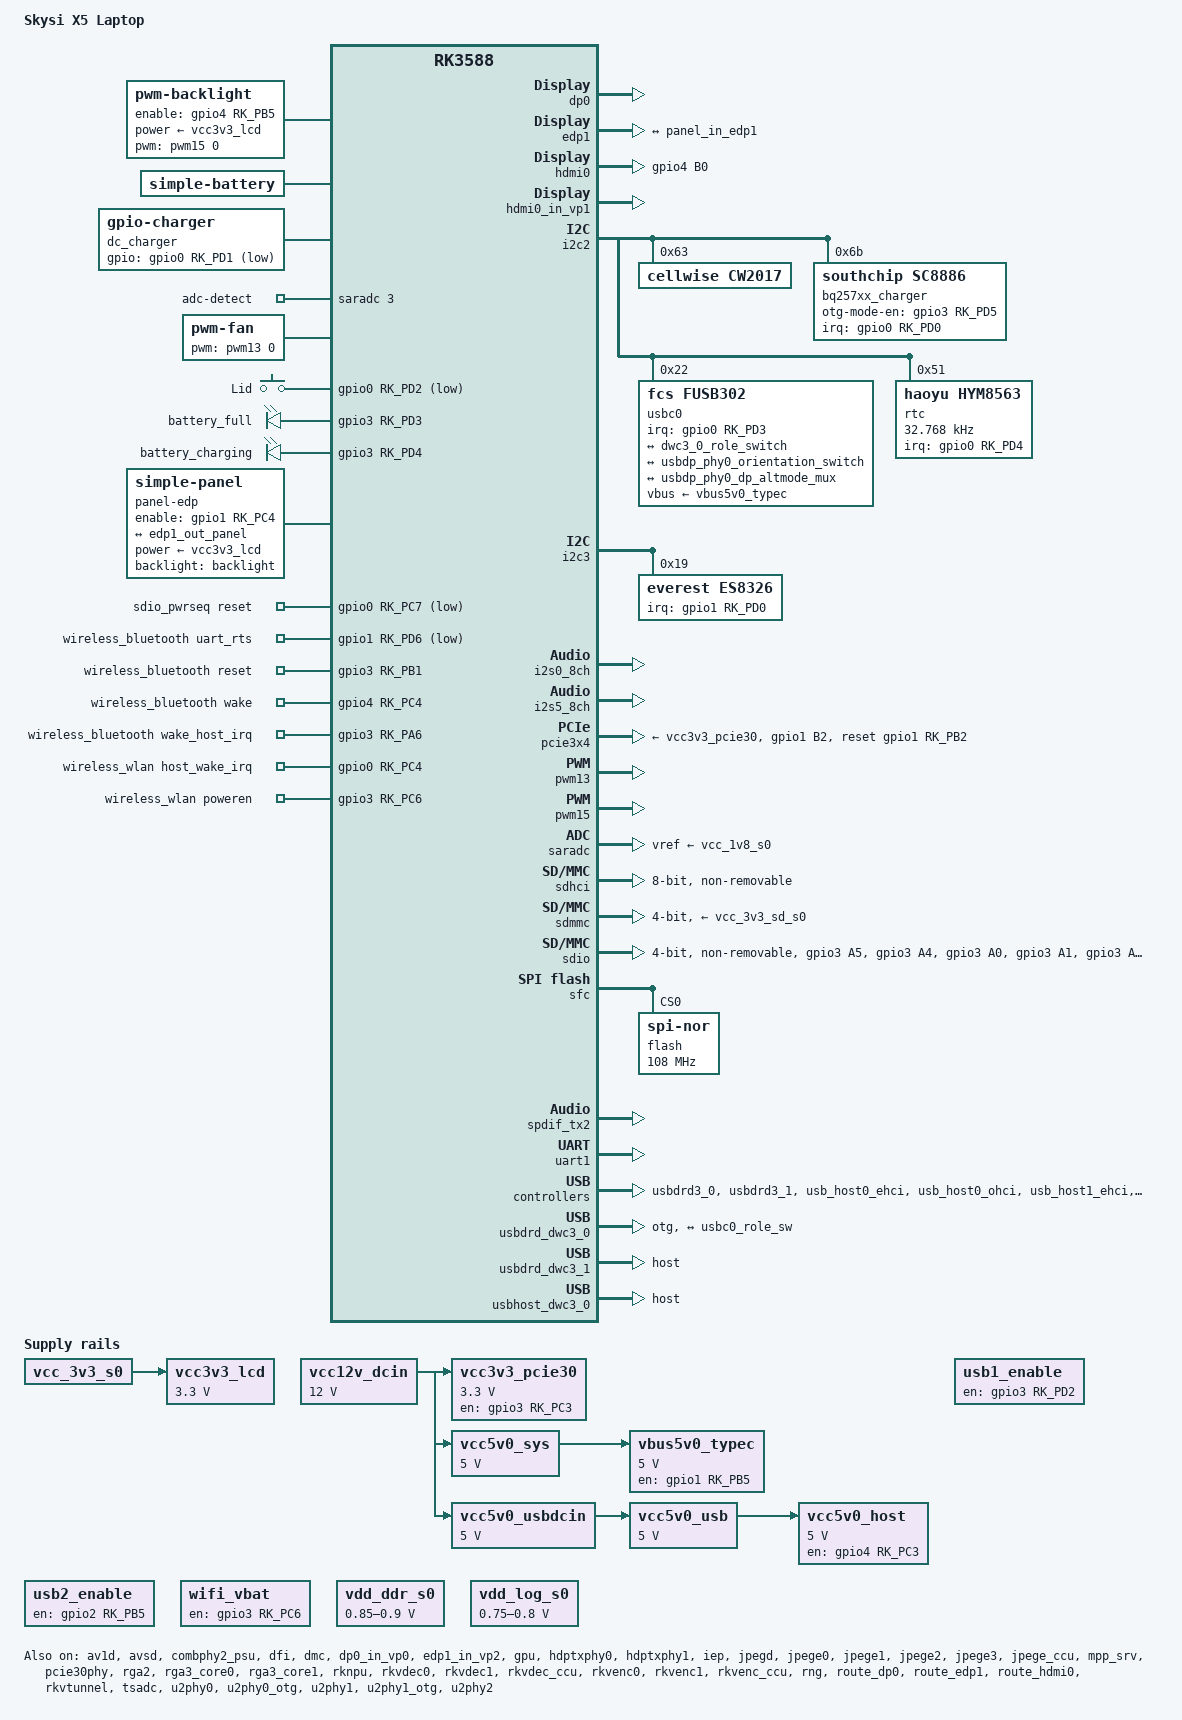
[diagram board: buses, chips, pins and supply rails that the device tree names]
// SPDX-License-Identifier: (GPL-2.0+ OR MIT)
/*
 * Copyright (c) 2026 Rockchip Electronics Co., Ltd.
 * Copyright (c) 2026 bingo1991
 */

/dts-v1/;

#include <dt-bindings/display/drm_mipi_dsi.h>
#include <dt-bindings/display/rockchip_vop.h>
#include <dt-bindings/gpio/gpio.h>
#include <dt-bindings/input/gpio-keys.h>
#include <dt-bindings/input/rk-input.h>
#include <dt-bindings/leds/common.h>
#include <dt-bindings/pwm/pwm.h>
#include <dt-bindings/pinctrl/rockchip.h>
#include <dt-bindings/sensor-dev.h>
#include <dt-bindings/usb/pd.h>
#include "rk3588.dtsi"
#include "rk3588-rk806-dual.dtsi"
#include "rk3588-linux.dtsi"

/ {
	model = "Skysi X5 Laptop";
	compatible = "rockchip,rk3588-yourland", "rockchip,rk3588-arm-pc", "rockchip,rk3588";

	/delete-node/ chosen;

	aliases {
		mmc0 = &sdhci;
		mmc1 = &sdmmc;
		mmc2 = &sdio;
		serial2 = &uart2;
	};

	backlight: backlight {
		compatible = "pwm-backlight";
		brightness-levels = <
			  0  20  20  21  21  22  22  23
			 23  24  24  25  25  26  26  27
			 27  28  28  29  29  30  30  31
			 31  32  32  33  33  34  34  35
			 35  36  36  37  37  38  38  39
			 40  41  42  43  44  45  46  47
			 48  49  50  51  52  53  54  55
			 56  57  58  59  60  61  62  63
			 64  65  66  67  68  69  70  71
			 72  73  74  75  76  77  78  79
			 80  81  82  83  84  85  86  87
			 88  89  90  91  92  93  94  95
			 96  97  98  99 100 101 102 103
			104 105 106 107 108 109 110 111
			112 113 114 115 116 117 118 119
			120 121 122 123 124 125 126 127
			128 129 130 131 132 133 134 135
			136 137 138 139 140 141 142 143
			144 145 146 147 148 149 150 151
			152 153 154 155 156 157 158 159
			160 161 162 163 164 165 166 167
			168 169 170 171 172 173 174 175
			176 177 178 179 180 181 182 183
			184 185 186 187 188 189 190 191
			192 193 194 195 196 197 198 199
			200 201 202 203 204 205 206 207
			208 209 210 211 212 213 214 215
			216 217 218 219 220 221 222 223
			224 225 226 227 228 229 230 231
			232 233 234 235 236 237 238 239
			240 241 242 243 244 245 246 247
			248 249 250 251 252 253 254 255
		>;
		default-brightness-level = <200>;
		enable-gpios = <&gpio4 RK_PB5 GPIO_ACTIVE_HIGH>;
		pinctrl-names = "default";
		pinctrl-0 = <&lcd_backlight_en>;
		power-supply = <&vcc3v3_lcd>;
		pwms = <&pwm15 0 25000 0>;
	};

	battery: battery {
		compatible = "simple-battery";
		charge-full-design-microamp-hours = <6000000>;
		constant-charge-current-max-microamp = <5000000>;
		constant-charge-voltage-max-microvolt = <8700000>;
		voltage-max-design-microvolt = <8700000>;
		voltage-min-design-microvolt = <7600000>;
	};

	dc_charger: dc-charger {
		compatible = "gpio-charger";
		charger-type = "mains";
		gpios = <&gpio0 RK_PD1 GPIO_ACTIVE_LOW>;
		pinctrl-names = "default";
		pinctrl-0 = <&dc_det>;
	};

	dp0_sound: dp0-sound {
		compatible = "rockchip,hdmi";
		rockchip,card-name = "rockchip-dp0";
		rockchip,mclk-fs = <512>;
		rockchip,cpu = <&spdif_tx2>;
		rockchip,codec = <&dp0 1>;
		rockchip,jack-det;
	};

	es8326_sound: es8326-sound {
		compatible = "rockchip,multicodecs-card";
		rockchip,card-name = "rockchip-es8326";
		rockchip,format = "i2s";
		rockchip,mclk-fs = <256>;
		rockchip,cpu = <&i2s0_8ch>;
		rockchip,codec = <&es8326>;
		rockchip,audio-routing =
			"Headphone", "HPOL",
			"Headphone", "HPOR",
			"Headphone", "Headphone Power",
			"Headphone", "Headphone Power",
			"Speaker", "HPOL",
			"Speaker", "HPOR",
			"Speaker", "Speaker Power",
			"Speaker", "Speaker Power",
			"MIC1", "Headset Mic",
			"MIC2", "Main Mic";

		pinctrl-names = "default";
		pinctrl-0 = <&spk_con>;

		poll-interval = <100>;
		io-channels = <&saradc 3>;
		io-channel-names = "adc-detect";
		keyup-threshold-microvolt = <1800000>;
		play-pause-key {
			label = "playpause";
			linux,code = <KEY_PLAYPAUSE>;
			press-threshold-microvolt = <2000>;
		};
	};

	fan: pwm-fan {
		compatible = "pwm-fan";
		cooling-levels = <0 128 192 255>;
		cooling-min-state = <0>;
		cooling-max-state = <3>;
		pwms = <&pwm13 0 3000000 1>;
		#cooling-cells = <2>;
	};

	gpio_keys: gpio-keys {
		compatible = "gpio-keys";
		pinctrl-names = "default";
		pinctrl-0 = <&sw_lid>;

		switch-lid {
			debounce-interval = <20>;
			gpios = <&gpio0 RK_PD2 GPIO_ACTIVE_LOW>;
			label = "Lid";
			linux,code = <SW_LID>;
			linux,input-type = <EV_SW>;
			wakeup-event-action = <EV_ACT_DEASSERTED>;
			wakeup-source;
		};
	};

	gpio_leds: gpio-leds {
		compatible = "gpio-leds";
		pinctrl-names = "default";
		pinctrl-0 = <&leds_gpio>;

		charge_indicator: led1 {
			default-state = "off";
			gpios = <&gpio3 RK_PD3 GPIO_ACTIVE_HIGH>;
			label = "battery_full";
			linux,default-trigger = "cw2017-battery-full";
			retain-state-suspended;
		};

		power_indicator: led2 {
			default-state = "off";
			gpios = <&gpio3 RK_PD4 GPIO_ACTIVE_HIGH>;
			label = "battery_charging";
			linux,default-trigger = "cw2017-battery-charging-or-full";
			retain-state-suspended;
		};
	};

	hdmi0_sound: hdmi0-sound {
		compatible = "simple-audio-card";
		simple-audio-card,format = "i2s";
		simple-audio-card,mclk-fs = <128>;
		simple-audio-card,name = "rockchip-hdmi0";

		simple-audio-card,cpu {
			sound-dai = <&i2s5_8ch>;
		};
		simple-audio-card,codec {
			sound-dai = <&hdmi0>;
		};
	};

	panel-edp {
		compatible = "simple-panel";
		backlight = <&backlight>;
		enable-gpios = <&gpio1 RK_PC4 GPIO_ACTIVE_HIGH>;
		power-supply = <&vcc3v3_lcd>;

		prepare-delay-ms = <210>;
		enable-delay-ms = <50>;
		unprepare-delay-ms = <160>;
		disable-delay-ms = <120>;
		width-mm = <309>;
		height-mm = <174>;
		bpc = <8>;
		connector-type = <14>; /* DRM_MODE_CONNECTOR_eDP */

		/* AUO B140HAN04.0 timing from EDID. */
		panel-timing {
			clock-frequency = <141000000>;
			hactive = <1920>;
			vactive = <1080>;
			hfront-porch = <16>;
			hsync-len = <16>;
			hback-porch = <152>;
			vfront-porch = <3>;
			vsync-len = <14>;
			vback-porch = <19>;
			hsync-active = <0>;
			vsync-active = <0>;
			de-active = <0>;
			pixelclk-active = <0>;
		};

		port {
			panel_in_edp1: endpoint {
				remote-endpoint = <&edp1_out_panel>;
			};
		};
	};

	vbus5v0_typec: regulator-vbus5v0-typec {
		compatible = "regulator-fixed";
		enable-active-high;
		gpio = <&gpio1 RK_PB5 GPIO_ACTIVE_HIGH>;
		pinctrl-names = "default";
		pinctrl-0 = <&vbus5v0_typec_en>;
		regulator-max-microvolt = <5000000>;
		regulator-min-microvolt = <5000000>;
		regulator-name = "vbus5v0_typec";
		vin-supply = <&vcc5v0_sys>;
	};

	vcc12v_dcin: regulator-vcc12v-dcin {
		compatible = "regulator-fixed";
		regulator-always-on;
		regulator-boot-on;
		regulator-min-microvolt = <12000000>;
		regulator-max-microvolt = <12000000>;
		regulator-name = "vcc12v_dcin";
	};

	vcc3v3_lcd: regulator-vcc3v3-lcd {
		compatible = "regulator-fixed";
		regulator-boot-on;
		regulator-max-microvolt = <3300000>;
		regulator-min-microvolt = <3300000>;
		regulator-name = "vcc3v3_lcd";
		vin-supply = <&vcc_3v3_s0>;

		regulator-state-mem {
			// Screen power off in suspend state
			regulator-off-in-suspend;
		};
	};

	vcc3v3_pcie30: regulator-vcc3v3-pcie30 {
		compatible = "regulator-fixed";
		enable-active-high;
		gpios = <&gpio3 RK_PC3 GPIO_ACTIVE_HIGH>;
		pinctrl-names = "default";
		pinctrl-0 = <&vcc3v3_pcie30_en>;
		regulator-max-microvolt = <3300000>;
		regulator-min-microvolt = <3300000>;
		regulator-name = "vcc3v3_pcie30";
		startup-delay-us = <5000>;
		vin-supply = <&vcc12v_dcin>;
	};

	vcc5v0_host: regulator-vcc5v0-host {
		compatible = "regulator-fixed";
		enable-active-high;
		gpio = <&gpio4 RK_PC3 GPIO_ACTIVE_HIGH>;
		pinctrl-names = "default";
		pinctrl-0 = <&vcc5v0_host_en>;
		regulator-always-on;
		regulator-boot-on;
		regulator-max-microvolt = <5000000>;
		regulator-min-microvolt = <5000000>;
		regulator-name = "vcc5v0_host";
		vin-supply = <&vcc5v0_usb>;
	};

	vcc5v0_sys: regulator-vcc5v0-sys {
		compatible = "regulator-fixed";
		regulator-always-on;
		regulator-boot-on;
		regulator-max-microvolt = <5000000>;
		regulator-min-microvolt = <5000000>;
		regulator-name = "vcc5v0_sys";
		vin-supply = <&vcc12v_dcin>;
	};

	vcc5v0_usb: regulator-vcc5v0-usb {
		compatible = "regulator-fixed";
		regulator-always-on;
		regulator-boot-on;
		regulator-max-microvolt = <5000000>;
		regulator-min-microvolt = <5000000>;
		regulator-name = "vcc5v0_usb";
		vin-supply = <&vcc5v0_usbdcin>;
	};

	vcc5v0_usbdcin: regulator-vcc5v0-usbdcin {
		compatible = "regulator-fixed";
		regulator-always-on;
		regulator-boot-on;
		regulator-max-microvolt = <5000000>;
		regulator-min-microvolt = <5000000>;
		regulator-name = "vcc5v0_usbdcin";
		vin-supply = <&vcc12v_dcin>;
	};

	usb1_enable: regulator-usb1-enable {
		compatible = "regulator-fixed";
		regulator-name = "usb1_enable";
		gpio = <&gpio3 RK_PD2 GPIO_ACTIVE_HIGH>;
		enable-active-high;
		regulator-always-on;
		regulator-boot-on;
	};

	usb2_enable: regulator-usb2-enable {
		compatible = "regulator-fixed";
		regulator-name = "usb2_enable";
		gpio = <&gpio2 RK_PB5 GPIO_ACTIVE_HIGH>;
		enable-active-high;
		regulator-always-on;
		regulator-boot-on;
	};

	wifi_vbat: regulator-wifi-vbat {
		compatible = "regulator-fixed";
		enable-active-high;
		gpios = <&gpio3 RK_PC6 GPIO_ACTIVE_HIGH>;
		pinctrl-names = "default";
		pinctrl-0 = <&wifi_poweren_gpio>;
		regulator-always-on;
		regulator-boot-on;
		regulator-name = "wifi_vbat";
	};

	sdio_pwrseq: sdio-pwrseq {
		compatible = "mmc-pwrseq-simple";
		clocks = <&rtc>;
		clock-names = "ext_clock";
		pinctrl-names = "default";
		pinctrl-0 = <&wifi_enable_h>;
		/*
		 * On the module itself this is one of these (depending
		 * on the actual card populated):
		 * - SDIO_RESET_L_WL_REG_ON
		 * - PDN (power down when low)
		 */
		post-power-on-delay-ms = <200>;
		reset-gpios = <&gpio0 RK_PC7 GPIO_ACTIVE_LOW>;
	};

	// 3-WIRE(H5) HCIUART protocol bluetooth, using UART1 controller
	wireless_bluetooth: wireless-bluetooth {
		compatible = "bluetooth-platdata";
		bt_port = "/dev/ttyS1";
		clocks = <&rtc>;
		clock-names = "ext_clock";
		//wifi-bt-power-toggle;
		uart_rts_gpios = <&gpio1 RK_PD6 GPIO_ACTIVE_LOW>;
		pinctrl-names = "default", "rts_gpio";
		pinctrl-0 = <&uart1m1_rtsn>, <&bt_reset_gpio>, <&bt_wake_gpio>, <&bt_irq_gpio>;
		pinctrl-1 = <&uart1_gpios>;
		BT,reset_gpio    = <&gpio3 RK_PB1 GPIO_ACTIVE_HIGH>;
		BT,wake_gpio     = <&gpio4 RK_PC4 GPIO_ACTIVE_HIGH>;
		BT,wake_host_irq = <&gpio3 RK_PA6 GPIO_ACTIVE_HIGH>;
		status = "okay";
	};

	wireless_wlan: wireless-wlan {
		compatible = "wlan-platdata";
		wifi_chip_type = "ap6275s";
		pinctrl-names = "default";
		pinctrl-0 = <&wifi_host_wake_irq>;
		WIFI,host_wake_irq = <&gpio0 RK_PC4 GPIO_ACTIVE_HIGH>;
		WIFI,poweren_gpio = <&gpio3 RK_PC6 GPIO_ACTIVE_HIGH>;
		status = "okay";
	};
};

&av1d {
	status = "okay";
};

&av1d_mmu {
	status = "okay";
};

&avsd {
	status = "okay";
};

&combphy2_psu {
	status = "okay";
};

&cpu_b0 {
	cpu-supply = <&vdd_cpu_big0_s0>;
	mem-supply = <&vdd_cpu_big0_mem_s0>;
};

&cpu_b2 {
	cpu-supply = <&vdd_cpu_big1_s0>;
	mem-supply = <&vdd_cpu_big1_mem_s0>;
};

&cpu_l0 {
	cpu-supply = <&vdd_cpu_lit_s0>;
	mem-supply = <&vdd_cpu_lit_mem_s0>;
};

&dfi {
	status = "okay";
};

&dmc {
	status = "okay";
	center-supply = <&vdd_ddr_s0>;
	mem-supply = <&vdd_log_s0>;
	rockchip,dmc-min-freq = <1560000000>;
	rockchip,dmc-max-freq = <2112000000>;
};

&dp0 {
	status = "okay";
};

&dp0_in_vp0 {
	status = "okay";
};

&dp0_sound {
	status = "okay";
};

&edp1 {
	// Force eDP out, hotplug not supported, hpd-gpios is not necessary
	force-hpd;
	status = "okay";

	ports {
		port@1 {
			reg = <1>;
			edp1_out_panel: endpoint {
				remote-endpoint = <&panel_in_edp1>;
			};
		};
	};
};

&edp1_in_vp2 {
	status = "okay";
};

/* Use Rockchip's vendor Mali driver with the vendor userspace. */
&gpu {
	mali-supply = <&vdd_gpu_s0>;
	mem-supply = <&vdd_gpu_mem_s0>;
	status = "okay";
};

&gpu_panthor {
	status = "disabled";
};

&hdmi0 {
	enable-gpios = <&gpio4 RK_PB0 GPIO_ACTIVE_HIGH>;
	pinctrl-names = "default";
	/* HPD and DDC share the enable pin group. */
	pinctrl-0 = <&hdmi_en &hdmim0_tx0_hpd &hdmim0_tx0_scl &hdmim0_tx0_sda>;
	status = "okay";
};

&hdmi0_in_vp1 {
	status = "okay";
};

&hdmi0_sound {
	status = "okay";
};

/* HDMI0/eDP0 Combo PHY, used as hdmi0 */
&hdptxphy0 {
	status = "okay";
};

/* HDMI1/eDP1 Combo PHY, used as edp1 */
&hdptxphy1 {
	status = "okay";
};

&i2c2 {
	i2c-scl-rising-time-ns = <600>;
	i2c-scl-falling-time-ns = <20>;
	status = "okay";

	cw2017@63 {
		compatible = "cellwise,cw2017";
		reg = <0x63>;

		cellwise,battery-profile = <
			0x32000000 0x00000000 0xa2bfc9f0 0xacb19755 0x42ffffff
			0xe0b39080 0x604a2480 0xacd995d3 0xd1cfcfcc 0xc9abee99
			0xbab7bb9f 0x8c817468 0x5b5d6f8a 0xa08f573d 0x00009002
			0x00000000 0x00006400 0x00000000 0x00000000 0x00000079
		>;

		cellwise,alert-level = <10>;
		cellwise,design-capacity-amh = <6000>;
		cellwise,dual-cell;
		cellwise,monitor-interval-ms = <3000>;
		monitored-battery = <&battery>;
		power-supplies = <&dc_charger &bq257xx_charger>;
		status = "okay";
	};

	bq257xx_charger: sc8886@6b {
		compatible = "southchip,sc8886", "ti,bq25703";
		reg = <0x6b>;

		interrupt-parent = <&gpio0>;
		interrupts = <RK_PD0 IRQ_TYPE_LEVEL_LOW>;
		otg-mode-en-gpio = <&gpio3 RK_PD5 GPIO_ACTIVE_HIGH>;
		pinctrl-names = "default";
		pinctrl-0 = <&charger_int_h &otg_enable_h>;
		extcon = <&u2phy0>;

		ti,usb-charger-detection = <&usbc0>;
		ti,charge-current = <2500000>;
		ti,max-input-voltage = <12000000>;
		ti,max-input-current = <6000000>;
		ti,max-charge-voltage = <8700000>;
		ti,input-current = <2000000>;
		ti,input-current-sdp = <1000000>;
		ti,input-current-dcp = <2000000>;
		ti,input-current-cdp = <2000000>;
		ti,minimum-sys-voltage = <7200000>;
		ti,otg-voltage = <5000000>;
		ti,otg-current = <2000000>;
		pd-charge-only = <0>;
		status = "okay";
	};

	usbc0: fusb302@22 {
		compatible = "fcs,fusb302";
		reg = <0x22>;
		interrupt-parent = <&gpio0>;
		interrupts = <RK_PD3 IRQ_TYPE_LEVEL_LOW>;
		pinctrl-names = "default";
		pinctrl-0 = <&usbc0_int>;
		vbus-supply = <&vbus5v0_typec>;
		status = "okay";

		ports {
			#address-cells = <1>;
			#size-cells = <0>;

			port@0 {
				reg = <0>;
				usbc0_role_sw: endpoint@0 {
					remote-endpoint = <&dwc3_0_role_switch>;
				};
			};
		};

		usb_con: connector {
			compatible = "usb-c-connector";
			data-role = "dual";
			label = "USB-C";
			op-sink-microwatt = <1000000>;
			power-role = "dual";
			sink-pdos =
				<PDO_FIXED(5000, 1000, PDO_FIXED_USB_COMM)
				 PDO_FIXED(15000, 3000, PDO_FIXED_USB_COMM)>;
			source-pdos = <PDO_FIXED(5000, 3000, PDO_FIXED_USB_COMM)>;
			try-power-role = "sink";

			altmodes {
				#address-cells = <1>;
				#size-cells = <0>;

				altmode@0 {
					reg = <0>;
					svid = <0xff01>;
					vdo = <0xffffffff>;
				};
			};

			ports {
				#address-cells = <1>;
				#size-cells = <0>;

				port@0 {
					reg = <0>;
					usbc0_orien_sw: endpoint {
						remote-endpoint = <&usbdp_phy0_orientation_switch>;
					};
				};

				port@1 {
					reg = <1>;
					dp_altmode_mux: endpoint {
						remote-endpoint = <&usbdp_phy0_dp_altmode_mux>;
					};
				};
			};
		};
	};

	rtc: hym8563@51 {
		compatible = "haoyu,hym8563";
		reg = <0x51>;
		#clock-cells = <0>;
		clock-frequency = <32768>;
		clock-output-names = "hym8563";
		pinctrl-names = "default";
		pinctrl-0 = <&rtc_int>;
		interrupt-parent = <&gpio0>;
		interrupts = <RK_PD4 IRQ_TYPE_LEVEL_LOW>;
	};
};

&i2c3 {
	status = "okay";

	es8326: es8326@19 {
		status = "okay";
		#sound-dai-cells = <0>;
		compatible = "everest,es8326";
		reg = <0x19>;
		clocks = <&mclkout_i2s0>;
		clock-names = "mclk";
		assigned-clocks = <&mclkout_i2s0>;
		assigned-clock-rates = <12288000>;
		pinctrl-names = "default";
		pinctrl-0 = <&i2s0_mclk &hp_det>;
		interrupt-parent = <&gpio1>;
		interrupts = <RK_PD0 IRQ_TYPE_EDGE_RISING>;
		/*
		 * ADC1 uses analogue MIC1 for the headset microphone.
		 * ADC2 uses the on-board digital microphone.
		 */
		everest,mic1-src = [22];
		everest,mic2-src = [44];
		everest,jack-pol = [07];
	};
};

/* I2S0 - ES8326 Audio Codec */
&i2s0_8ch {
	pinctrl-names = "default";
	pinctrl-0 = <&i2s0_lrck &i2s0_sclk &i2s0_sdi0 &i2s0_sdi1 &i2s0_sdi2 &i2s0_sdo0>;
	status = "okay";
};

/* HDMI0 audio */
&i2s5_8ch {
	status = "okay";
};

&iep {
	status = "okay";
};

&iep_mmu {
	status = "okay";
};

&jpegd {
	status = "okay";
};

&jpegd_mmu {
	status = "okay";
};

&jpege0 {
	status = "okay";
};

&jpege0_mmu {
	status = "okay";
};

&jpege1 {
	status = "okay";
};

&jpege1_mmu {
	status = "okay";
};

&jpege2 {
	status = "okay";
};

&jpege2_mmu {
	status = "okay";
};

&jpege3 {
	status = "okay";
};

&jpege3_mmu {
	status = "okay";
};

&jpege_ccu {
	status = "okay";
};

&mpp_srv {
	status = "okay";
};

&pcie30phy {
	rockchip,pcie30-phymode = <PHY_MODE_PCIE_AGGREGATION>;
	status = "okay";
};

/* PCIe 3.0 x4 NVme SSD */
&pcie3x4 {
	pinctrl-names = "default";
	pinctrl-0 = <&pcie3x4_rst>;
	reset-gpios = <&gpio1 RK_PB2 GPIO_ACTIVE_HIGH>;
	vpcie3v3-supply = <&vcc3v3_pcie30>;
	status = "okay";
};

&pinctrl {
	audio {
		hp_det: hp-det {
			rockchip,pins = <1 RK_PD0 RK_FUNC_GPIO &pcfg_pull_down>;
		};

		spk_con: spk-con {
			/* parked low; the es8326 driver drives it with the jack state */
			rockchip,pins = <2 RK_PB7 RK_FUNC_GPIO &pcfg_output_low>;
		};
	};

	bluetooth {
		uart1_gpios: uart1-gpios {
			rockchip,pins = <1 RK_PD6 RK_FUNC_GPIO &pcfg_pull_none>;
		};

		bt_reset_gpio: bt-reset-gpio {
			rockchip,pins = <3 RK_PB1 RK_FUNC_GPIO &pcfg_pull_none>;
		};

		bt_wake_gpio: bt-wake-gpio {
			rockchip,pins = <4 RK_PC4 RK_FUNC_GPIO &pcfg_pull_none>;
		};

		bt_irq_gpio: bt-irq-gpio {
			rockchip,pins = <3 RK_PA6 RK_FUNC_GPIO &pcfg_pull_down>;
		};
	};

	charger {
		charger_int_h: charger-int-h {
			rockchip,pins = <0 RK_PD0 RK_FUNC_GPIO &pcfg_pull_up>;
		};

		dc_det: dc-det {
			rockchip,pins = <0 RK_PD1 RK_FUNC_GPIO &pcfg_pull_up>;
		};

		otg_enable_h: otg-enable-h {
			rockchip,pins = <3 RK_PD5 RK_FUNC_GPIO &pcfg_pull_none>;
		};
	};

	display {
		hdmi_en: hdmi-en {
			rockchip,pins = <4 RK_PB0 RK_FUNC_GPIO &pcfg_output_high>;
		};

		lcd_backlight_en: lcd-backlight-en {
			rockchip,pins = <4 RK_PB5 RK_FUNC_GPIO &pcfg_pull_none>;
		};
	};

	gpio-keys {
		sw_lid: sw-lid {
			rockchip,pins = <0 RK_PD2 RK_FUNC_GPIO &pcfg_pull_up>;
		};
	};

	gpio-leds {
		leds_gpio: leds-gpio {
			/* PC1 enables the LED supply; PD3 and PD4 drive the LEDs. */
			rockchip,pins = <3 RK_PC1 RK_FUNC_GPIO &pcfg_output_high>,
					<3 RK_PD3 RK_FUNC_GPIO &pcfg_pull_none>,
					<3 RK_PD4 RK_FUNC_GPIO &pcfg_pull_none>;
		};
	};

	rtc {
		rtc_int: rtc-int {
			rockchip,pins = <0 RK_PD4 RK_FUNC_GPIO &pcfg_pull_up>;
		};
	};

	pcie3 {
		pcie3x4_rst: pcie3x4-rst {
			rockchip,pins = <1 RK_PB2 RK_FUNC_GPIO &pcfg_pull_none>;
		};

		vcc3v3_pcie30_en: vcc3v3-pcie30-en {
			rockchip,pins = <3 RK_PC3 RK_FUNC_GPIO &pcfg_pull_none>;
		};
	};

	sdio-pwrseq {
		wifi_enable_h: wifi-enable-h {
			rockchip,pins = <0 RK_PC7 RK_FUNC_GPIO &pcfg_pull_none>;
		};
	};

	sdio-wifi {
		sdio_pins: sdio-pins {
			rockchip,pins = <3 RK_PA5 2 &pcfg_pull_up_drv_level_2>,
					<3 RK_PA4 2 &pcfg_pull_up_drv_level_2>,
					<3 RK_PA0 2 &pcfg_pull_up_drv_level_2>,
					<3 RK_PA1 2 &pcfg_pull_up_drv_level_2>,
					<3 RK_PA2 2 &pcfg_pull_up_drv_level_2>,
					<3 RK_PA3 2 &pcfg_pull_up_drv_level_2>;
		};
	};

	usb {
		vcc5v0_host_en: vcc5v0-host-en {
			rockchip,pins = <4 RK_PC3 RK_FUNC_GPIO &pcfg_pull_none>,
					<2 RK_PB6 RK_FUNC_GPIO &pcfg_output_high>,
					<3 RK_PC0 RK_FUNC_GPIO &pcfg_output_high>;
		};
	};

	usb-typec {
		usbc0_int: usbc0-int {
			rockchip,pins = <0 RK_PD3 RK_FUNC_GPIO &pcfg_pull_up>;
		};

		usbc0_sbu1: usbc0-sbu1 {
			rockchip,pins = <4 RK_PA6 RK_FUNC_GPIO &pcfg_pull_none>;
		};

		usbc0_sbu2: usbc0-sbu2 {
			rockchip,pins = <4 RK_PA7 RK_FUNC_GPIO &pcfg_pull_none>;
		};

		vbus5v0_typec_en: vbus5v0-typec-en {
			rockchip,pins = <1 RK_PB5 RK_FUNC_GPIO &pcfg_pull_none>;
		};
	};

	wireless-wlan {
		wifi_host_wake_irq: wifi-host-wake-irq {
			rockchip,pins = <0 RK_PC4 RK_FUNC_GPIO &pcfg_pull_down>;
		};

		wifi_poweren_gpio: wifi-poweren-gpio {
			rockchip,pins = <3 RK_PC6 RK_FUNC_GPIO &pcfg_pull_up>;
		};
	};
};

/* PWM Fan Control */
&pwm13 {
	pinctrl-names = "active";
	pinctrl-0 = <&pwm13m1_pins>;
	status = "okay";
};

/* Backlight */
&pwm15 {
	pinctrl-names = "active";
	pinctrl-0 = <&pwm15m1_pins>;
	status = "okay";
};

&rga2 {
	status = "okay";
};

&rga3_0_mmu {
	status = "okay";
};

&rga3_1_mmu {
	status = "okay";
};

&rga3_core0 {
	status = "okay";
};

&rga3_core1 {
	status = "okay";
};

&rknpu {
	rknpu-supply = <&vdd_npu_s0>;
	mem-supply = <&vdd_npu_mem_s0>;
	status = "okay";
};

&rknpu_mmu {
	status = "okay";
};

&rkvdec0 {
	status = "okay";
};

&rkvdec0_mmu {
	status = "okay";
};

&rkvdec1 {
	status = "okay";
};

&rkvdec1_mmu {
	status = "okay";
};

&rkvdec_ccu {
	status = "okay";
};

&rkvenc0 {
	venc-supply = <&vdd_vdenc_s0>;
	mem-supply = <&vdd_vdenc_mem_s0>;
	status = "okay";
};

&rkvenc0_mmu {
	status = "okay";
};

&rkvenc1 {
	venc-supply = <&vdd_vdenc_s0>;
	mem-supply = <&vdd_vdenc_mem_s0>;
	status = "okay";
};

&rkvenc1_mmu {
	status = "okay";
};

&rkvenc_ccu {
	status = "okay";
};

&rng {
	status = "okay";
};

&rockchip_suspend {
	status = "okay";
};

&route_dp0 {
	status = "okay";
	connect = <&vp0_out_dp0>;
};

&route_edp1 {
	status = "okay";
	connect = <&vp2_out_edp1>;
};

&route_hdmi0 {
	status = "okay";
	connect = <&vp1_out_hdmi0>;
};

&rkvtunnel {
	status = "okay";
};

&saradc {
	status = "okay";
	vref-supply = <&vcc_1v8_s0>;
};

/* EMMC */
&sdhci {
	bus-width = <8>;
	no-sdio;
	no-sd;
	non-removable;
	max-frequency = <200000000>;
	mmc-hs400-1_8v;
	//mmc-hs400-enhanced-strobe;
	status = "okay";
};

/* TF Card */
&sdmmc {
	max-frequency = <150000000>;
	no-sdio;
	no-mmc;
	bus-width = <4>;
	cap-mmc-highspeed;
	cap-sd-highspeed;
	disable-wp;
	sd-uhs-sdr104;
	vmmc-supply = <&vcc_3v3_sd_s0>;
	vqmmc-supply = <&vccio_sd_s0>;
	pinctrl-names = "default";
	pinctrl-0 = <&sdmmc_bus4 &sdmmc_clk &sdmmc_cmd &sdmmc_det>;
	status = "okay";
};

/* WiFi */
&sdio {
	max-frequency = <150000000>;
	pinctrl-names = "default";
	pinctrl-0 = <&sdio_pins>;
	no-sd;
	no-mmc;
	bus-width = <4>;
	disable-wp;
	cap-sd-highspeed;
	cap-sdio-irq;
	keep-power-in-suspend;
	mmc-pwrseq = <&sdio_pwrseq>;
	non-removable;

	sd-uhs-sdr104;
	status = "okay";
};

/* 8MB SPI Flash */
&sfc {
	status = "okay";
	#address-cells = <1>;
	#size-cells = <0>;

	flash@0 {
		compatible = "jedec,spi-nor";
		reg = <0>;
		spi-max-frequency = <108000000>;
		spi-rx-bus-width = <2>;
		spi-tx-bus-width = <2>;
	};
};

&spdif_tx2 {
	status = "okay";
};

&tsadc {
	status = "okay";
};

/* Bluetooth */
&uart1 {
	pinctrl-names = "default";
	pinctrl-0 = <&uart1m1_xfer &uart1m1_ctsn>;
	status = "okay";
};

/* USB 2.0 PHY0 */
&u2phy0 {
	status = "okay";
};

&u2phy0_otg {
	rockchip,typec-vbus-det;
	status = "okay";
};

/* USB 2.0 PHY1 */
&u2phy1 {
	status = "okay";
};

&u2phy1_otg {
	status = "okay";
};

/* USB 2.0 PHY2 for HOST 0 */
&u2phy2 {
	status = "okay";
};

&u2phy2_host {
	phy-supply = <&vcc5v0_host>;
	status = "okay";
};

/* USB 2.0 PHY3 for HOST 1 */
&u2phy3 {
	status = "okay";
};

&u2phy3_host {
	phy-supply = <&vcc5v0_host>;
	status = "okay";
};

/* USB 3.0 & DP PHY0 */
&usbdp_phy0 {
	orientation-switch;
	svid = <0xff01>;
	pinctrl-names = "default";
	pinctrl-0 = <&usbc0_sbu1 &usbc0_sbu2>;
	sbu1-dc-gpios = <&gpio4 RK_PA6 GPIO_ACTIVE_HIGH>;
	sbu2-dc-gpios = <&gpio4 RK_PA7 GPIO_ACTIVE_HIGH>;
	status = "okay";

	port {
		#address-cells = <1>;
		#size-cells = <0>;

		usbdp_phy0_orientation_switch: endpoint@0 {
			reg = <0>;
			remote-endpoint = <&usbc0_orien_sw>;
		};

		usbdp_phy0_dp_altmode_mux: endpoint@1 {
			reg = <1>;
			remote-endpoint = <&dp_altmode_mux>;
		};
	};
};

&usbdp_phy0_dp {
	status = "okay";
};

&usbdp_phy0_u3 {
	status = "okay";
};

/* USB 3.0 & DP PHY1 */
&usbdp_phy1 {
	status = "okay";
};

&usbdp_phy1_dp {
	status = "okay";
};

&usbdp_phy1_u3 {
	status = "okay";
};

/* USB OTG Controller 0, Left USB 3.0 Type-C */
&usbdrd3_0 {
	status = "okay";
};

&usbdrd_dwc3_0 {
	dr_mode = "otg";
	usb-role-switch;
	extcon = <&u2phy0>;
	status = "okay";
	port {
		#address-cells = <1>;
		#size-cells = <0>;
		dwc3_0_role_switch: endpoint@0 {
			reg = <0>;
			remote-endpoint = <&usbc0_role_sw>;
		};
	};
};

/* USB OTG Controller 0, Left USB 3.0 Type-A */
&usbdrd3_1 {
	status = "okay";
};

&usbdrd_dwc3_1 {
	dr_mode = "host";
	status = "okay";
};

/* USB 2.0 Controller for HOST 0, USB Camera */
&usb_host0_ehci {
	status = "okay";
};

&usb_host0_ohci {
	status = "okay";
};

/* USB 2.0 Controller for HOST 1, USB Keyboard, Right dual USB 2.0 Type-A  */
&usb_host1_ehci {
	status = "okay";
};

&usb_host1_ohci {
	status = "okay";
};

/* pcie2x1l1/sata2/usbhost_dwc3_0 Combo PHY */
&combphy2_psu {
	status = "okay";
};

/* USB 3.0 Controller for HOST 2 */
&usbhost3_0 {
	status = "okay";
};

&usbhost_dwc3_0 {
	dr_mode = "host";
	status = "okay";
};

&vcc_1v8_s0 {
	regulator-always-on;
	regulator-boot-on;
	regulator-state-mem {
		regulator-off-in-suspend;
		regulator-on-in-suspend;
		regulator-suspend-microvolt = <1800000>;
	};
};

&vcc_3v3_s0 {
	regulator-always-on;
	regulator-boot-on;
	regulator-state-mem {
		regulator-off-in-suspend;
		regulator-on-in-suspend;
		regulator-suspend-microvolt = <3300000>;
	};
};

&vdd_ddr_s0 {
	regulator-min-microvolt = <850000>;
	regulator-max-microvolt = <900000>;
};

&vdd_log_s0 {
	regulator-min-microvolt = <750000>;
	regulator-max-microvolt = <800000>;
};

&vdpu {
	status = "okay";
};

&vdpu_mmu {
	status = "okay";
};

&vepu {
	status = "okay";
};

&vop {
	disable-win-move;
	/*
	 * dclk_vop2_src has neither CLK_SET_RATE_PARENT nor a fractional
	 * divider, so the VOP can only divide its parent: keep V0PLL on an
	 * exact multiple of the panel's 141 MHz pixel clock (8 x 141 MHz =
	 * 1128 MHz, added to the PLL table by the clk patch).
	 */
	assigned-clocks = <&cru PLL_V0PLL>,
			  <&cru DCLK_VOP0_SRC>,
			  <&cru DCLK_VOP1_SRC>,
			  <&cru DCLK_VOP2_SRC>,
			  <&cru DCLK_VOP3>;
	assigned-clock-rates = <1128000000>, <0>, <0>, <141000000>, <0>;
	assigned-clock-parents = <0>, <0>, <0>, <&cru PLL_V0PLL>, <0>;
	vop-supply = <&vdd_log_s0>;
	status = "okay";
};

&vop_mmu {
	status = "okay";
};

/* vp0 & vp1 splice for 8K output */
&vp0 {
	rockchip,plane-mask = <(1 << ROCKCHIP_VOP2_CLUSTER0 | 1 << ROCKCHIP_VOP2_ESMART0)>;
	rockchip,primary-plane = <ROCKCHIP_VOP2_ESMART0>;
};

&vp1 {
	rockchip,plane-mask = <(1 << ROCKCHIP_VOP2_CLUSTER1 | 1 << ROCKCHIP_VOP2_ESMART1)>;
	rockchip,primary-plane = <ROCKCHIP_VOP2_ESMART1>;
};

&vp2 {
	rockchip,plane-mask = <(1 << ROCKCHIP_VOP2_CLUSTER2 | 1 << ROCKCHIP_VOP2_ESMART2)>;
	rockchip,primary-plane = <ROCKCHIP_VOP2_ESMART2>;
};

&vp3 {
	rockchip,plane-mask = <(1 << ROCKCHIP_VOP2_CLUSTER3 | 1 << ROCKCHIP_VOP2_ESMART3)>;
	rockchip,primary-plane = <ROCKCHIP_VOP2_ESMART3>;
};
